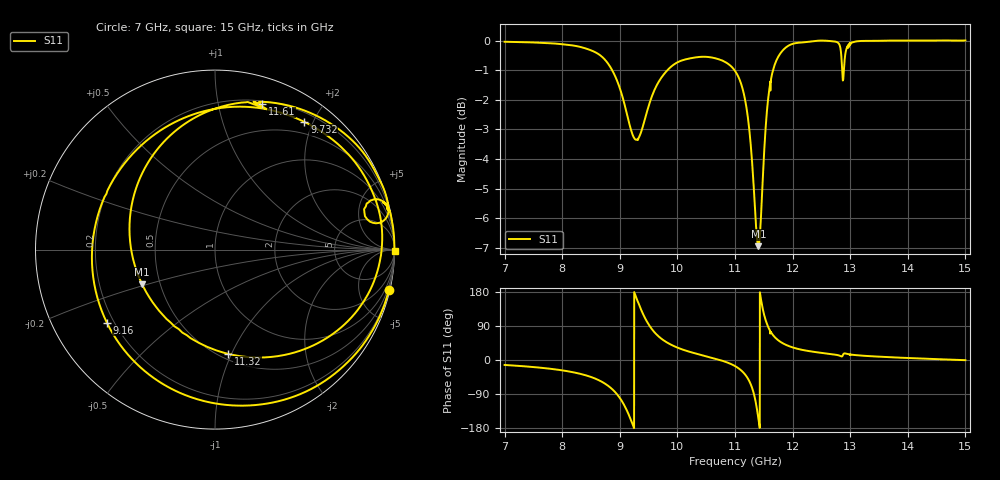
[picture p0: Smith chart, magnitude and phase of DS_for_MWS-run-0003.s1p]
! TOUCHSTONE file generated by CST DESIGN STUDIO
! Date and time: Mon Feb 10 16:53:59 2025
! Project name: C:\Work\MatlabApps\UnitCellType2OptimizationMatlab\CST\unitcell.cst
! Tree item: Tasks\Sweep1\SPara1\S-Parameters
! Header version: 2024
! Port assignment regex: !\s*Touchstone port\s*([0-9]+)\s*=\s*(CST MWS port|CST DES external port|CST DES block port)\s*(.+)\s* \(\"(.*)\"\)(\s*mode\s*([0-9]+))?.*
! Touchstone port assignment:
! Touchstone port 1 = CST DES external port 1 ("")
# GHz S MA R 50
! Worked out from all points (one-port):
!   4001 points, 7 GHz to 15 GHz, reference 50 ohm
!   lowest |S11| = -6.9 dB at 11.41 GHz (marker M1), VSWR 2.63, Z = 19.8 - j9.63 ohm
!   |S11| at or under -10 dB: nowhere
!   S11 on the Smith chart (normalised r, x): 7 GHz: 0.19, -8.73; 9.16 GHz: 0.17, -0.30; 9.732 GHz: 0.32, +1.88; 11.32 GHz: 0.55, -0.97; 11.61 GHz: 0.23, +1.35; 15 GHz: open
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7  0.9952 -13.1
8  0.9856 -27.3
8.622  0.9497 -52.3
8.822  0.9063 -71.0
9  0.831 -100.1
9.082  0.7802 -120.7
9.16  0.7271 -145.9
9.286  0.6799 164.6
9.436  0.7367 111.2
9.556  0.8044 81.7
9.732  0.8684 55.0
10  0.9186 32.7
10.526  0.9381 8.8
11  0.8888 -16.0
11.18  0.7897 -39.2
11.316  0.585 -82.9
11.362  0.4915 -112.8
11.406  0.4497 -154.4
11.458  0.5205 153.9
11.516  0.6742 113.3
11.61  0.8522 72.0
11.766  0.9442 50.2
12  0.987 33.2
12.832  0.9683 10.4
12.892  0.8947 17.1
13  0.9887 14.5
14  0.9996 5.3
15  1 -0.5
